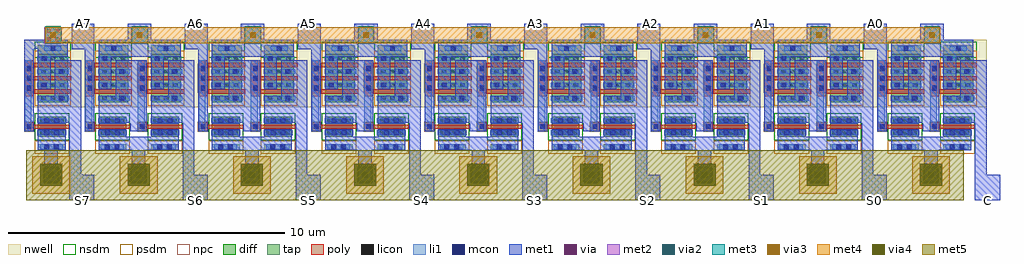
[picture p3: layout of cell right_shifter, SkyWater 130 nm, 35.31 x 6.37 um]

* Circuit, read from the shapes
.subckt right_shifter A0 A1 A2 A3 A4 A5 A6 A7 C S0 S1 S2 S3 S4 S5 S6 S7 VDD VSS
XM1 S7 VDD VSS VSS sky130_fd_pr__nfet_01v8 w=1 l=0.15
XM2 buffer_7/inv_0/A A7 VSS VSS sky130_fd_pr__nfet_01v8 w=1 l=0.15
XM3 S6 buffer_7/inv_0/A VSS VSS sky130_fd_pr__nfet_01v8 w=1 l=0.15
XM4 buffer_6/inv_0/A A6 VSS VSS sky130_fd_pr__nfet_01v8 w=1 l=0.15
XM5 S5 buffer_6/inv_0/A VSS VSS sky130_fd_pr__nfet_01v8 w=1 l=0.15
XM6 buffer_5/inv_0/A A5 VSS VSS sky130_fd_pr__nfet_01v8 w=1 l=0.15
XM7 S4 buffer_5/inv_0/A VSS VSS sky130_fd_pr__nfet_01v8 w=1 l=0.15
XM8 buffer_4/inv_0/A A4 VSS VSS sky130_fd_pr__nfet_01v8 w=1 l=0.15
XM9 S3 buffer_4/inv_0/A VSS VSS sky130_fd_pr__nfet_01v8 w=1 l=0.15
XM10 buffer_3/inv_0/A A3 VSS VSS sky130_fd_pr__nfet_01v8 w=1 l=0.15
XM11 S2 buffer_3/inv_0/A VSS VSS sky130_fd_pr__nfet_01v8 w=1 l=0.15
XM12 buffer_8/inv_0/A A2 VSS VSS sky130_fd_pr__nfet_01v8 w=1 l=0.15
XM13 S1 buffer_8/inv_0/A VSS VSS sky130_fd_pr__nfet_01v8 w=1 l=0.15
XM14 buffer_1/inv_0/A A1 VSS VSS sky130_fd_pr__nfet_01v8 w=1 l=0.15
XM15 S0 buffer_1/inv_0/A VSS VSS sky130_fd_pr__nfet_01v8 w=1 l=0.15
XM16 buffer_2/inv_0/A A0 VSS VSS sky130_fd_pr__nfet_01v8 w=1 l=0.15
XM17 C buffer_2/inv_0/A VSS VSS sky130_fd_pr__nfet_01v8 w=1 l=0.15
XM18 VDD VDD S7 VDD sky130_fd_pr__pfet_01v8 w=1.07 l=0.15 m=3
XM19 VDD A7 buffer_7/inv_0/A VDD sky130_fd_pr__pfet_01v8 w=1.07 l=0.15 m=3
XM20 VDD buffer_7/inv_0/A S6 VDD sky130_fd_pr__pfet_01v8 w=1.07 l=0.15 m=3
XM21 VDD A6 buffer_6/inv_0/A VDD sky130_fd_pr__pfet_01v8 w=1.07 l=0.15 m=3
XM22 VDD buffer_6/inv_0/A S5 VDD sky130_fd_pr__pfet_01v8 w=1.07 l=0.15 m=3
XM23 VDD A5 buffer_5/inv_0/A VDD sky130_fd_pr__pfet_01v8 w=1.07 l=0.15 m=3
XM24 VDD buffer_5/inv_0/A S4 VDD sky130_fd_pr__pfet_01v8 w=1.07 l=0.15 m=3
XM25 VDD A4 buffer_4/inv_0/A VDD sky130_fd_pr__pfet_01v8 w=1.07 l=0.15 m=3
XM26 VDD buffer_4/inv_0/A S3 VDD sky130_fd_pr__pfet_01v8 w=1.07 l=0.15 m=3
XM27 VDD A3 buffer_3/inv_0/A VDD sky130_fd_pr__pfet_01v8 w=1.07 l=0.15 m=3
XM28 VDD buffer_3/inv_0/A S2 VDD sky130_fd_pr__pfet_01v8 w=1.07 l=0.15 m=3
XM29 VDD A2 buffer_8/inv_0/A VDD sky130_fd_pr__pfet_01v8 w=1.07 l=0.15 m=3
XM30 VDD buffer_8/inv_0/A S1 VDD sky130_fd_pr__pfet_01v8 w=1.07 l=0.15 m=3
XM31 VDD A1 buffer_1/inv_0/A VDD sky130_fd_pr__pfet_01v8 w=1.07 l=0.15 m=3
XM32 VDD buffer_1/inv_0/A S0 VDD sky130_fd_pr__pfet_01v8 w=1.07 l=0.15 m=3
XM33 VDD A0 buffer_2/inv_0/A VDD sky130_fd_pr__pfet_01v8 w=1.07 l=0.15 m=3
XM34 VDD buffer_2/inv_0/A C VDD sky130_fd_pr__pfet_01v8 w=1.07 l=0.15 m=3
.ends

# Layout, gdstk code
from math import pi, radians
import gdstk
lib = gdstk.Library(unit=1e-6, precision=1e-09)
def R(c, l, rs):  # rectangles x0, y0, x1, y1
    for r in rs: c.add(gdstk.rectangle(r[:2], r[2:], *l))
def A(c, l, x, y, w, h, nx, ny, dx, dy):  # array of equal rectangles
    R(c, l, [(x+i*dx, y+j*dy, x+i*dx+w, y+j*dy+h) for i in range(nx) for j in range(ny)])
nwell = (64, 20)
diff = (65, 20)
tap = (65, 44)
poly = (66, 20)
licon = (66, 44)
li1 = (67, 20)
mcon = (67, 44)
met1 = (68, 20)
via = (68, 44)
met2 = (69, 20)
via2 = (69, 44)
met3 = (70, 20)
via3 = (70, 44)
met4 = (71, 20)
via4 = (71, 44)
met5 = (72, 20)
nsdm = (93, 44)
psdm = (94, 20)
npc = (95, 20)

sky130_fd_pr__nfet_01v8_ = lib.new_cell('sky130_fd_pr__nfet_01v8_6H9P4D')
R(sky130_fd_pr__nfet_01v8_, diff, [(-0.365,-0.5,0.365,0.5)])
R(sky130_fd_pr__nfet_01v8_, poly, [(-0.075,-0.63,0.075,0.63)])
A(sky130_fd_pr__nfet_01v8_, licon, -0.305, -0.425, 0.17, 0.17, 1, 3, 0, 0.34)
A(sky130_fd_pr__nfet_01v8_, licon, 0.135, -0.425, 0.17, 0.17, 1, 3, 0, 0.34)
R(sky130_fd_pr__nfet_01v8_, li1, [(-0.305,-0.52,-0.135,0.52), (0.135,-0.52,0.305,0.52)])
R(sky130_fd_pr__nfet_01v8_, mcon, [(-0.305,-0.265,-0.135,-0.095), (0.135,-0.265,0.305,-0.095), (-0.305,0.095,-0.135,0.265), (0.135,0.095,0.305,0.265)])
R(sky130_fd_pr__nfet_01v8_, met1, [(-0.335,-0.5,-0.105,0.5), (0.105,-0.5,0.335,0.5)])
R(sky130_fd_pr__nfet_01v8_, nsdm, [(-0.49,-0.625,0.49,0.625)])

efepmos_w107_l15_f3 = lib.new_cell('efepmos_W107-L15-F3')
R(efepmos_w107_l15_f3, nwell, [(-1.045,-1.035,1.045,0.845)])
R(efepmos_w107_l15_f3, diff, [(-0.865,-0.535,0.865,0.535)])
A(efepmos_w107_l15_f3, poly, -0.555, -0.69, 0.15, 1.355, 3, 1, 0.48, 0)
R(efepmos_w107_l15_f3, poly, [(-0.645,-1.02,0.645,-0.69)])
A(efepmos_w107_l15_f3, licon, -0.425, -0.94, 0.17, 0.17, 3, 1, 0.34, 0)
A(efepmos_w107_l15_f3, licon, -0.805, -0.425, 0.17, 0.17, 1, 3, 0, 0.34)
A(efepmos_w107_l15_f3, licon, 0.155, -0.425, 0.17, 0.17, 1, 3, 0, 0.34)
A(efepmos_w107_l15_f3, licon, -0.325, -0.415, 0.17, 0.17, 1, 3, 0, 0.34)
A(efepmos_w107_l15_f3, licon, 0.635, -0.415, 0.17, 0.17, 1, 3, 0, 0.34)
R(efepmos_w107_l15_f3, li1, [(-0.645,-0.94,0.645,-0.77), (-0.805,-0.555,-0.635,0.555), (-0.325,-0.555,-0.155,0.585), (0.155,-0.555,0.325,0.555), (0.635,-0.555,0.805,0.585)])
A(efepmos_w107_l15_f3, mcon, -0.445, -0.94, 0.17, 0.17, 3, 1, 0.36, 0)
R(efepmos_w107_l15_f3, mcon, [(-0.805,-0.395,-0.635,-0.225), (0.155,-0.395,0.325,-0.225), (-0.325,0.215,-0.155,0.385), (0.635,0.215,0.805,0.385)])
R(efepmos_w107_l15_f3, met1, [(-0.645,-1.02,0.645,-0.69), (-1.045,-0.535,0.405,-0.08), (-0.405,0.08,1.045,0.535)])
R(efepmos_w107_l15_f3, psdm, [(-0.99,-0.66,0.99,0.66)])
R(efepmos_w107_l15_f3, npc, [(-0.525,-1.04,0.525,-0.67)])

inv = lib.new_cell('inv')
R(inv, nwell, [(1.88,0,2.06,1.83), (1.63,1.44,1.715,1.45), (1.115,1.45,1.715,1.69), (0.505,1.735,0.52,1.83), (0,1.83,2.06,2.43)])
R(inv, tap, [(0.5,-1.555,1.5,-1.34), (0.5,1.91,1.57,2.24)])
R(inv, poly, [(0.015,-0.87,0.35,-0.78), (0.015,-0.78,0.375,-0.63), (0.015,-0.63,0.35,-0.54)])
R(inv, licon, [(0.73,-1.52,0.9,-1.35), (1.07,-1.52,1.24,-1.35), (0.095,-0.79,0.265,-0.62), (0.955,2.04,1.125,2.21)])
R(inv, li1, [(0.575,-1.52,1.395,-1.35), (0.015,-0.87,0.265,1.695), (0.735,2.04,1.35,2.21)])
R(inv, mcon, [(0.72,-1.52,0.89,-1.35), (1.08,-1.52,1.25,-1.35), (0.095,-0.79,0.265,-0.62), (0.955,2.04,1.125,2.21)])
R(inv, met1, [(0.5,-1.555,1.5,-0.805), (0,-0.875,0.345,0.4), (1.64,-0.875,2.06,-0.57), (0.5,-0.57,2.06,0.41), (0,0.4,0.265,1.69), (1.115,0.41,2.06,1.69), (0.505,1.735,0.52,1.83), (0.5,1.83,1.57,2.43)])
R(inv, nsdm, [(0.375,1.785,1.695,2.365)])
R(inv, psdm, [(0.375,-1.68,1.625,-1.215)])
R(inv, npc, [(-0.005,-0.89,0.365,-0.52)])
inv.add(gdstk.Reference(sky130_fd_pr__nfet_01v8_, (1,-0.705), rotation=3*pi/2))
inv.add(gdstk.Reference(efepmos_w107_l15_f3, (1.035,1.045), rotation=3*pi/2))
inv.add(gdstk.Label('A', (0,0.39), layer=68, texttype=16))
inv.add(gdstk.Label('VSS', (0.99,-1.555), layer=68, texttype=16))
inv.add(gdstk.Label('VDD', (1.05,2.43), layer=68, texttype=16))
inv.add(gdstk.Label('Y', (2.06,0.39), layer=68, texttype=16))

buffer = lib.new_cell('buffer')
R(buffer, nwell, [(2.035,1.25,2.095,3.16), (-0.025,1.64,-0.015,1.67), (3.925,1.725,3.93,1.735), (1.545,3.16,2.595,3.68)])
R(buffer, met1, [(1.675,-1.475,2.16,-0.305), (1.475,-0.305,2.595,0.18), (2.035,0.375,2.095,2.94), (-0.025,1.64,-0.015,1.67), (3.925,1.725,3.93,1.735), (1.545,3.08,2.37,3.16), (1.545,3.16,2.595,3.455), (1.525,3.455,2.595,3.68), (1.525,3.68,2.375,4.26)])
R(buffer, via, [(1.84,-1.28,1.99,-1.13), (1.88,3.785,2.03,3.935)])
R(buffer, met2, [(1.63,-1.445,2.205,-0.96), (1.65,3.6,2.26,4.12)])
R(buffer, via2, [(1.815,-1.305,2.015,-1.105), (1.855,3.76,2.055,3.96)])
R(buffer, met3, [(1.65,-1.5,2.185,-0.905), (1.67,3.545,2.24,4.175)])
R(buffer, via3, [(1.815,-1.305,2.015,-1.105), (1.855,3.76,2.055,3.96)])
R(buffer, met4, [(1.24,-1.88,2.6,-0.52), (1.665,3.57,2.245,4.15)])
R(buffer, via4, [(1.52,-1.6,2.32,-0.8)])
R(buffer, met5, [(0.875,-2.11,3.095,-0.305)])
buffer.add(gdstk.Reference(inv, (1.87,1.25)))
buffer.add(gdstk.Reference(inv, (-0.025,1.25)))
buffer.add(gdstk.Label('A', (-0.025,1.655), layer=68, texttype=16))
buffer.add(gdstk.Label('VSS', (2.165,-0.305), layer=68, texttype=16))
buffer.add(gdstk.Label('VDD', (2.23,3.68), layer=68, texttype=16))
buffer.add(gdstk.Label('Y', (3.93,1.73), layer=68, texttype=16))

right_shifter = lib.new_cell('right_shifter')
R(right_shifter, nwell, [(5.625,2.81,40.44,5.24)])
A(right_shifter, li1, 7.835, 4.5, 0.25, 0.005, 7, 1, 4.095, 0)
A(right_shifter, met1, 7.26, -0.55, 0.905, 0.92, 9, 1, 4.095, 0)
A(right_shifter, met1, 11.355, 0.37, 0.42, 1.565, 8, 1, 4.095, 0)
A(right_shifter, met1, 7.82, 4.5, 0.345, 0.4, 8, 1, 4.095, 0)
A(right_shifter, met1, 7.335, 4.9, 0.83, 0.92, 8, 1, 4.095, 0)
R(right_shifter, met1, [(6.355,0.085,6.84,1.255), (7.26,0.37,7.745,0.375), (7.26,0.375,7.68,2.355), (31.83,1.935,31.905,2.24), (5.62,4.455,5.93,4.495), (5.62,4.495,5.965,4.925), (5.62,4.925,6.435,5.13), (5.62,5.13,6.985,5.24), (6.345,5.24,6.985,5.71)])
R(right_shifter, via, [(6.52,0.28,6.67,0.43), (6.43,5.185,6.58,5.335), (6.75,5.185,6.9,5.335), (6.43,5.505,6.58,5.655), (6.75,5.505,6.9,5.655)])
R(right_shifter, met2, [(6.31,0.115,6.885,0.6), (6.345,5.13,6.985,5.71)])
R(right_shifter, via2, [(6.495,0.255,6.695,0.455), (6.565,5.32,6.765,5.52)])
R(right_shifter, met3, [(6.33,0.06,6.865,0.655), (6.38,5.105,6.95,5.13), (6.375,5.13,6.955,5.71), (6.38,5.71,6.95,5.735)])
R(right_shifter, via3, [(6.495,0.255,6.695,0.455), (6.565,5.32,6.765,5.52)])
R(right_shifter, met4, [(5.92,-0.32,7.28,1.04), (6.375,5.13,38.755,5.71)])
R(right_shifter, via4, [(6.2,-0.04,7,0.76)])
R(right_shifter, met5, [(5.705,-0.55,39.605,1.255)])
right_shifter.add(gdstk.Reference(inv, (5.62,2.81)))
right_shifter.add(gdstk.Reference(buffer, (32.415,1.56)))
right_shifter.add(gdstk.Reference(buffer, (36.51,1.56)))
right_shifter.add(gdstk.Reference(buffer, (24.225,1.56)))
right_shifter.add(gdstk.Reference(buffer, (20.13,1.56)))
right_shifter.add(gdstk.Reference(buffer, (16.035,1.56)))
right_shifter.add(gdstk.Reference(buffer, (11.94,1.56)))
right_shifter.add(gdstk.Reference(buffer, (7.845,1.56)))
right_shifter.add(gdstk.Reference(buffer, (28.32,1.56)))
right_shifter.add(gdstk.Label('A0', (36.405,5.82), layer=68, texttype=16))
right_shifter.add(gdstk.Label('A1', (32.335,5.82), layer=68, texttype=16))
right_shifter.add(gdstk.Label('A2', (28.265,5.82), layer=68, texttype=16))
right_shifter.add(gdstk.Label('A3', (24.13,5.82), layer=68, texttype=16))
right_shifter.add(gdstk.Label('A4', (20.055,5.82), layer=68, texttype=16))
right_shifter.add(gdstk.Label('A5', (15.92,5.82), layer=68, texttype=16))
right_shifter.add(gdstk.Label('A6', (11.83,5.82), layer=68, texttype=16))
right_shifter.add(gdstk.Label('A7', (7.775,5.82), layer=68, texttype=16))
right_shifter.add(gdstk.Label('C', (40.475,-0.55), layer=68, texttype=16))
right_shifter.add(gdstk.Label('S0', (36.4,-0.55), layer=68, texttype=16))
right_shifter.add(gdstk.Label('S1', (32.305,-0.55), layer=68, texttype=16))
right_shifter.add(gdstk.Label('S2', (28.165,-0.55), layer=68, texttype=16))
right_shifter.add(gdstk.Label('S3', (24.085,-0.55), layer=68, texttype=16))
right_shifter.add(gdstk.Label('S4', (20,-0.55), layer=68, texttype=16))
right_shifter.add(gdstk.Label('S5', (15.915,-0.55), layer=68, texttype=16))
right_shifter.add(gdstk.Label('S6', (11.82,-0.55), layer=68, texttype=16))
right_shifter.add(gdstk.Label('S7', (7.73,-0.55), layer=68, texttype=16))
right_shifter.add(gdstk.Label('VSS', (24,-0.55), layer=72, texttype=16))
right_shifter.add(gdstk.Label('VDD', (24.13,5.71), layer=71, texttype=16))

lib.write_gds('right_shifter.gds')
